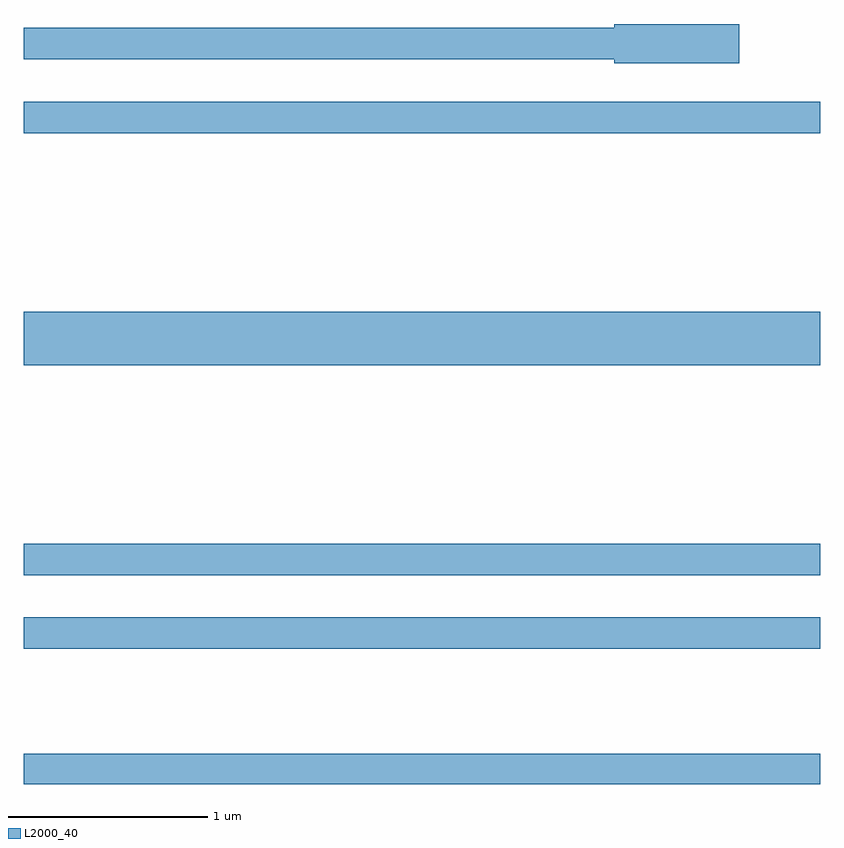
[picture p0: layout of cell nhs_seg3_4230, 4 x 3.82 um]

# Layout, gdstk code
import gdstk
lib = gdstk.Library(unit=1e-6, precision=1e-09)
def R(c, l, rs):  # rectangles x0, y0, x1, y1
    for r in rs: c.add(gdstk.rectangle(r[:2], r[2:], *l))
def P(c, l, *ps):  # polygons
    for p in ps: c.add(gdstk.Polygon(p, *l))
L2000_40 = (2000, 40)

nhs_seg3_4230 = lib.new_cell('nhs_seg3_4230')
R(nhs_seg3_4230, L2000_40, [(309.611,1143.892,313.611,1144.044), (309.611,1144.571,313.611,1144.729), (309.611,1144.941,313.611,1145.099), (309.611,1145.996,313.611,1146.264), (309.611,1147.161,313.611,1147.319)])
P(nhs_seg3_4230, L2000_40, [(313.204,1147.709),(312.576,1147.709),(312.576,1147.689),(309.611,1147.689),(309.611,1147.531),(312.576,1147.531),(312.576,1147.511),(313.204,1147.511)])

lib.write_gds('nhs_seg3_4230.gds')
